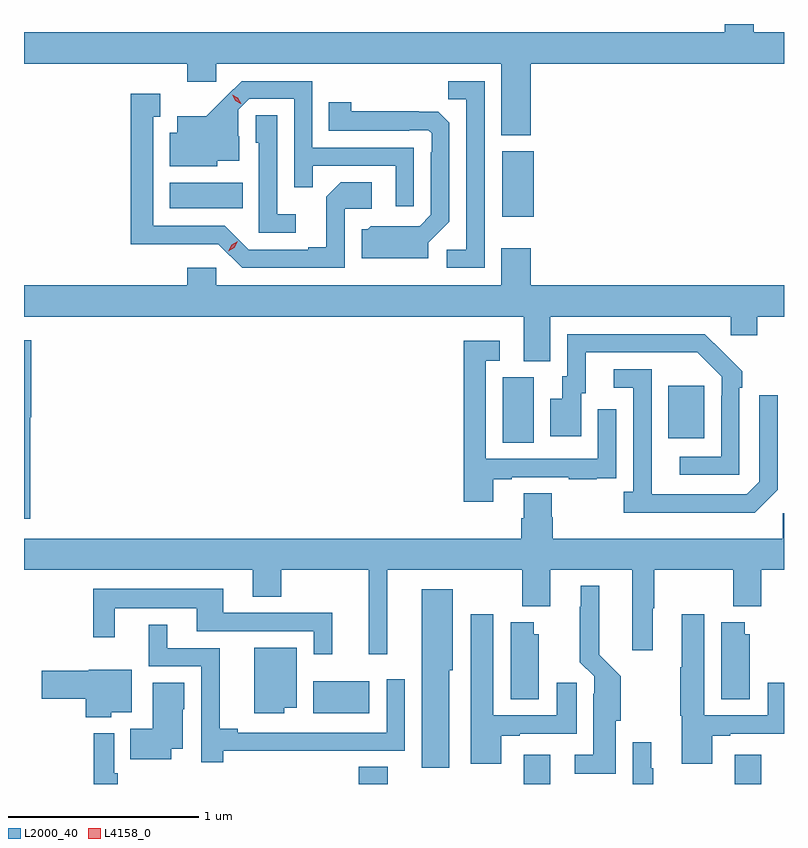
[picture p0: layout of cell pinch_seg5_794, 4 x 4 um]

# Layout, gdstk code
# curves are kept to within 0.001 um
import gdstk
lib = gdstk.Library(unit=1e-6, precision=1e-09)
def R(c, l, rs):  # rectangles x0, y0, x1, y1
    for r in rs: c.add(gdstk.rectangle(r[:2], r[2:], *l))
def P(c, l, *ps):  # polygons
    for p in ps: c.add(gdstk.Polygon(p, *l))
L2000_40 = (2000, 40)
L4158_0 = (4158, 0)

pinch_seg5_794 = lib.new_cell('pinch_seg5_794')
R(pinch_seg5_794, L2000_40, [(778.394,907.58,778.546,907.67), (779.261,907.58,779.401,907.735), (780.371,907.58,780.511,907.735), (778.154,907.952,778.447,908.122), (779.15,909.376,779.314,909.72), (780.023,909.401,780.211,909.676), (779.147,910.566,779.314,910.909), (777.398,910.61,777.782,910.744)])
P(pinch_seg5_794, L2000_40, [(780.631,911.536),(780.472,911.536),(780.472,911.58),(780.32,911.58),(780.32,911.536),(776.631,911.536),(776.631,911.372),(777.491,911.372),(777.491,911.277),(777.642,911.277),(777.642,911.372),(779.144,911.372),(779.144,910.994),(779.297,910.994),(779.297,911.372),(780.631,911.372)],
  [(778.683,910.929),(778.149,910.929),(778.149,911.28),(777.776,911.28),(777.589,911.095),(777.437,911.095),(777.437,911.008),(777.398,911.008),(777.398,910.832),(777.648,910.832),(777.648,910.859),(777.763,910.859),(777.763,910.988),(777.759,910.988),(777.759,911.13),(777.816,911.187),(778.053,911.187),(778.053,910.72),(778.151,910.72),(778.151,910.833),(778.587,910.833),(778.587,910.62),(778.683,910.62)],
  [(779.055,911.28),(778.864,911.28),(778.864,911.185),(778.959,911.185),(778.959,910.392),(778.857,910.392),(778.857,910.296),(779.055,910.296)],
  [(778.32,910.608),(778.462,910.608),(778.462,910.748),(778.297,910.748),(778.221,910.672),(778.221,910.405),(778.127,910.405),(778.127,910.392),(777.813,910.392),(777.687,910.518),(777.31,910.518),(777.31,911.091),(777.349,911.091),(777.349,911.212),(777.192,911.212),(777.192,910.421),(777.654,910.422),(777.78,910.296),(778.32,910.296)],
  [(778.759,910.428),(778.869,910.538),(778.869,911.06),(778.81,911.119),(778.353,911.12),(778.353,911.167),(778.234,911.167),(778.234,911.019),(778.658,911.019),(778.658,911.022),(778.758,911.022),(778.776,911.004),(778.776,910.904),(778.773,910.904),(778.773,910.575),(778.713,910.515),(778.456,910.516),(778.44,910.5),(778.409,910.5),(778.409,910.346),(778.759,910.346)],
  [(778.06,910.579),(777.963,910.579),(777.963,911.099),(777.852,911.099),(777.852,910.956),(777.867,910.956),(777.867,910.482),(778.06,910.482)],
  [(779.401,910.04),(780.351,910.04),(780.351,909.942),(780.49,909.942),(780.49,910.04),(780.631,910.04),(780.631,910.204),(779.297,910.204),(779.297,910.399),(779.144,910.399),(779.144,910.204),(777.642,910.204),(777.642,910.297),(777.491,910.297),(777.491,910.204),(776.631,910.204),(776.631,910.04),(779.261,910.04),(779.261,909.805),(779.401,909.805)],
  [(780.396,909.665),(780.411,909.665),(780.411,909.753),(780.214,909.948),(779.49,909.948),(779.49,909.726),(779.465,909.726),(779.465,909.607),(779.402,909.607),(779.402,909.411),(779.563,909.411),(779.563,909.636),(779.587,909.636),(779.587,909.852),(780.175,909.852),(780.303,909.723),(780.303,909.623),(780.3,909.623),(780.3,909.303),(780.081,909.303),(780.081,909.207),(780.396,909.207)],
  [(776.663,909.51),(776.668,909.51),(776.668,909.916),(776.631,909.916),(776.631,908.976),(776.663,908.976)],
  [(779.101,909.183),(779.197,909.183),(779.197,909.195),(779.497,909.195),(779.497,909.183),(779.645,909.183),(779.645,909.189),(779.747,909.189),(779.747,909.298),(779.748,909.298),(779.748,909.553),(779.652,909.553),(779.652,909.291),(779.061,909.291),(779.061,909.807),(779.134,909.807),(779.134,909.913),(778.945,909.913),(778.945,909.066),(779.101,909.066)],
  [(780.597,909.129),(780.597,909.625),(780.501,909.625),(780.501,909.171),(780.435,909.105),(779.935,909.105),(779.934,909.762),(779.736,909.762),(779.736,909.666),(779.838,909.666),(779.838,909.118),(779.787,909.118),(779.787,909.008),(780.476,909.008)],
  [(778.544,908.708),(779.254,908.708),(779.254,908.516),(779.401,908.516),(779.401,908.708),(779.831,908.708),(779.831,908.283),(779.941,908.283),(779.941,908.504),(779.949,908.504),(779.949,908.708),(780.364,908.708),(780.364,908.516),(780.511,908.516),(780.511,908.708),(780.631,908.708),(780.631,909.004),(780.624,909.004),(780.624,908.872),(779.414,908.872),(779.414,908.985),(779.409,908.985),(779.409,909.11),(779.261,909.11),(779.261,908.978),(779.249,908.978),(779.249,908.872),(776.631,908.872),(776.631,908.708),(777.836,908.708),(777.836,908.566),(777.984,908.566),(777.984,908.708),(778.445,908.708),(778.445,908.262),(778.544,908.262)],
  [(779.746,907.914),(779.772,907.914),(779.772,908.147),(779.659,908.26),(779.659,908.623),(779.561,908.623),(779.561,908.513),(779.557,908.513),(779.557,908.222),(779.631,908.148),(779.631,908.054),(779.627,908.054),(779.627,907.735),(779.529,907.735),(779.529,907.634),(779.746,907.634)],
  [(778.253,908.481),(777.679,908.481),(777.679,908.608),(776.995,908.608),(776.995,908.352),(777.109,908.352),(777.109,908.504),(777.539,908.504),(777.539,908.385),(778.155,908.385),(778.155,908.262),(778.253,908.262)],
  [(778.87,908.178),(778.888,908.178),(778.888,908.605),(778.724,908.605),(778.724,907.665),(778.87,907.665)],
  [(780.253,907.833),(780.349,907.833),(780.349,907.845),(780.631,907.845),(780.631,908.113),(780.545,908.113),(780.545,907.941),(780.211,907.941),(780.211,908.473),(780.092,908.473),(780.092,908.195),(780.085,908.195),(780.085,907.938),(780.092,907.938),(780.092,907.686),(780.253,907.686)],
  [(779.143,907.833),(779.239,907.833),(779.239,907.845),(779.539,907.845),(779.539,908.113),(779.435,908.113),(779.435,907.941),(779.101,907.941),(779.101,908.473),(778.982,908.473),(778.982,907.686),(779.143,907.686)],
  [(779.341,908.367),(779.314,908.367),(779.314,908.431),(779.192,908.431),(779.192,908.026),(779.341,908.026)],
  [(780.451,908.367),(780.424,908.367),(780.424,908.431),(780.302,908.431),(780.302,908.026),(780.451,908.026)],
  [(777.68,907.754),(778.31,907.754),(778.31,907.755),(778.635,907.755),(778.635,908.131),(778.539,908.131),(778.539,907.851),(777.757,907.851),(777.757,907.871),(777.662,907.871),(777.662,908.295),(777.385,908.295),(777.385,908.419),(777.287,908.419),(777.287,908.199),(777.564,908.199),(777.564,907.695),(777.68,907.695)],
  [(778,907.982),(778.066,907.982),(778.066,908.296),(777.842,908.296),(777.842,907.952),(778,907.952)],
  [(777.09,907.958),(777.199,907.958),(777.199,908.182),(776.973,908.182),(776.973,908.177),(776.724,908.177),(776.724,908.03),(776.957,908.03),(776.957,907.931),(777.09,907.931)],
  [(777.406,907.766),(777.466,907.766),(777.466,907.974),(777.475,907.974),(777.475,908.114),(777.308,908.114),(777.308,907.87),(777.19,907.87),(777.19,907.709),(777.406,907.709)],
  [(779.944,907.662),(779.932,907.662),(779.932,907.801),(779.835,907.801),(779.835,907.58),(779.944,907.58)],
  [(777.105,907.846),(776.997,907.846),(776.997,907.58),(777.125,907.58),(777.125,907.636),(777.105,907.636)])
P(pinch_seg5_794, L4158_0, [(777.773,911.161),(777.743,911.177),(777.727,911.207),(777.727,911.208),(777.727,911.208),(777.757,911.191),(777.774,911.161),(777.774,911.161)],
  [(777.707,910.384),(777.707,910.384),(777.724,910.417),(777.755,910.436),(777.756,910.436),(777.756,910.436),(777.738,910.403),(777.707,910.384)])

lib.write_gds('pinch_seg5_794.gds')
